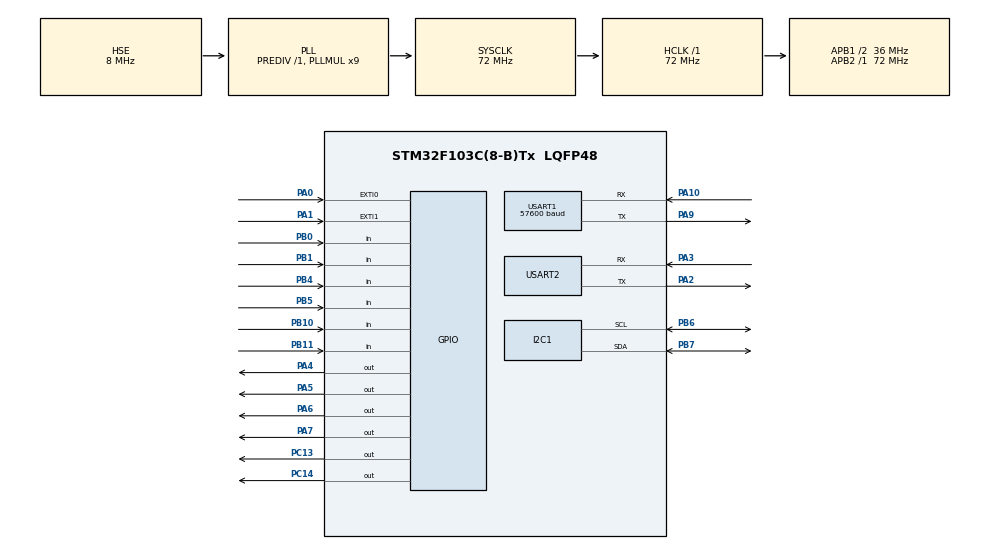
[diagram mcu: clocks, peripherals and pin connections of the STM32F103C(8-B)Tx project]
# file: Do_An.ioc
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Mcu.Family=STM32F1
Mcu.Name=STM32F103C(8-B)Tx
Mcu.Package=LQFP48
NVIC.EXTI0_IRQn=true\:0\:0\:false\:false\:true\:true\:true
NVIC.EXTI1_IRQn=true\:0\:0\:false\:false\:true\:true\:true
NVIC.PriorityGroup=NVIC_PRIORITYGROUP_4
NVIC.TIM2_IRQn=true\:0\:0\:false\:false\:true\:true\:true
NVIC.USART1_IRQn=true\:0\:0\:false\:false\:true\:true\:true
NVIC.USART2_IRQn=true\:0\:0\:false\:false\:true\:true\:true
PA0-WKUP.GPIO_ModeDefaultEXTI=GPIO_MODE_IT_FALLING
PA0-WKUP.GPIO_PuPd=GPIO_PULLUP
PA0-WKUP.Signal=GPXTI0
PA1.GPIO_PuPd=GPIO_PULLUP
PA1.Signal=GPXTI1
PA10.Mode=Asynchronous
PA10.Signal=USART1_RX
PA13.Mode=Serial_Wire
PA13.Signal=SYS_JTMS-SWDIO
PA14.Mode=Serial_Wire
PA14.Signal=SYS_JTCK-SWCLK
PA2.Mode=Asynchronous
PA2.Signal=USART2_TX
PA3.Mode=Asynchronous
PA3.Signal=USART2_RX
PA4.Signal=GPIO_Output
PA5.Signal=GPIO_Output
PA6.Signal=GPIO_Output
PA7.Signal=GPIO_Output
PA9.Mode=Asynchronous
PA9.Signal=USART1_TX
PB0.GPIO_PuPd=GPIO_PULLUP
PB0.Signal=GPIO_Input
PB1.GPIO_PuPd=GPIO_PULLUP
PB1.Signal=GPIO_Input
PB10.GPIO_PuPd=GPIO_PULLUP
PB10.Signal=GPIO_Input
PB11.GPIO_PuPd=GPIO_PULLUP
PB11.Signal=GPIO_Input
PB4.GPIO_PuPd=GPIO_PULLUP
PB4.Signal=GPIO_Input
PB5.GPIO_PuPd=GPIO_PULLUP
PB5.Signal=GPIO_Input
PB6.Mode=I2C
PB6.Signal=I2C1_SCL
PB7.Mode=I2C
PB7.Signal=I2C1_SDA
PC13-TAMPER-RTC.Signal=GPIO_Output
PC14-OSC32_IN.Signal=GPIO_Output
PD0-OSC_IN.Mode=HSE-External-Oscillator
PD0-OSC_IN.Signal=RCC_OSC_IN
PD1-OSC_OUT.Mode=HSE-External-Oscillator
PD1-OSC_OUT.Signal=RCC_OSC_OUT
ProjectManager.HeapSize=0x200
ProjectManager.StackSize=0x400
ProjectManager.TargetToolchain=MDK-ARM V5
RCC.AHBFreq_Value=72000000
RCC.APB1CLKDivider=RCC_HCLK_DIV2
RCC.APB1Freq_Value=36000000
RCC.APB1TimFreq_Value=72000000
RCC.APB2Freq_Value=72000000
RCC.APB2TimFreq_Value=72000000
RCC.HCLKFreq_Value=72000000
RCC.PLLMUL=RCC_PLL_MUL9
RCC.PLLSourceVirtual=RCC_PLLSOURCE_HSE
RCC.SYSCLKFreq_VALUE=72000000
RCC.SYSCLKSource=RCC_SYSCLKSOURCE_PLLCLK
RCC.USBFreq_Value=72000000
TIM2.AutoReloadPreload=TIM_AUTORELOAD_PRELOAD_ENABLE
TIM2.Period=19999
TIM2.Prescaler=7200
USART1.BaudRate=57600
USART1.VirtualMode=VM_ASYNC
USART2.VirtualMode=VM_ASYNC
VP_TIM2_VS_ClockSourceINT.Mode=Internal
board=custom

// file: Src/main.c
/* USER CODE BEGIN Header */
/**
  ******************************************************************************
  * @file           : main.c
  * @brief          : Main program body
  ******************************************************************************
  * @attention
  *
  * <h2><center>&copy; Copyright (c) 2022 STMicroelectronics.
  * All rights reserved.</center></h2>
  *
  * This software component is licensed by ST under BSD 3-Clause license,
  * the "License"; You may not use this file except in compliance with the
  * License. You may obtain a copy of the License at:
  *                        opensource.org/licenses/BSD-3-Clause
  *
  ******************************************************************************
  */
/* USER CODE END Header */

#include "main.h"

/* USER CODE BEGIN Includes */
#include <stdio.h>
#include <stdlib.h>
#include <string.h>
#include <stdbool.h>
//#include "i2c-lcd.h"
#include "cJSON.h"
//#include "usart.h"
#include "R305.h"
#include "flash.h"
#include "ringbuf.h"
#include "LCD_I2C.h"
/* USER CODE END Includes */

I2C_HandleTypeDef hi2c1;

TIM_HandleTypeDef htim2;

UART_HandleTypeDef huart2;

/* USER CODE BEGIN PV */
#define ADDRESS_DATA_STORAGE	0x800FC00
RINGBUF RX_BUF;
/* USER CODE END PV */

void SystemClock_Config(void);
static void MX_GPIO_Init(void);
static void MX_I2C1_Init(void);
static void MX_USART2_UART_Init(void);

static void MX_TIM2_Init(void);
/* USER CODE BEGIN PFP */

// truyen printf
#ifdef __GNUC__
	#define PUTCHAR_PROTOTYPE int __io_putchar(int ch)
#else
	#define PUTCHAR_PROTOTYPE int fputc(int ch, FILE *f)
#endif

PUTCHAR_PROTOTYPE
{
	HAL_UART_Transmit(&huart2, (uint8_t *)&ch, 1, 0xFFFF);
	return ch;
}

void quetphim(char *ten);
void quetphimcontrol();

void send_data_uart1(uint8_t Mode, uint8_t Admin, uint8_t Id, char * Name);
void themvantay();
void xoavantay();
void xoavantayall();
void vantay();
void suavantay();
void xoavantaytuPC(int id);
void xulyJSON(char *dataJson);
void Received(void);
void coikeu(int l);

/* USER CODE END PFP */

/* USER CODE BEGIN 0 */
uint8_t start = 0;
uint8_t data[] = "HELLO";

uint8_t Mode = 0;
uint8_t Admin = 0;
uint8_t Id = 0;
uint8_t Name = 0;
int IDE;
int y;
int i, m; // quet phim i, j va m gia tri tung phan tu cua mang
int value; // gia tri ascii cua ban phim
int l = 1000; // s� lan vong lap for quet phim
char msg[30];
int delay_phim = 100;
int col = 1;
int	row = 1;
bool name_ok = false;

//char ten[30] = "";

int modeIN_OUT = 0;
int mode_vantay = 0;// bien mode
bool ok = false;
bool phai_them_vantay_ad = false;
bool chuathemvantayduoc = false;
char tentuPC[50];

uint8_t idxoa;
uint8_t buf4[25];

uint8_t rx_data;
char rx_buffer[50];
unsigned int rx_index = 0;

cJSON *str_json;

void HAL_UART_RxCpltCallback(UART_HandleTypeDef *huart) // call back uart interrupt
{
	if (huart -> Instance == USART2){
		Received();// nhan + xu ly data
		HAL_UART_Receive_IT(&huart2, &rx_data, 1);  // nhan data uart interrupt/ 1: data size
	}
}

/* USER CODE END 0 */

int main(void)
{

  /* MCU Configuration--------------------------------------------------------*/

  /* Reset of all peripherals, Initializes the Flash interface and the Systick. */
  HAL_Init();

  /* Configure the system clock */
  SystemClock_Config();

  /* Initialize all configured peripherals */
  MX_GPIO_Init();
  MX_I2C1_Init();
  MX_USART2_UART_Init();
  MX_USART1_UART_Init();
  MX_TIM2_Init();
  /* USER CODE BEGIN 2 */

	HAL_TIM_Base_Start_IT(&htim2);
	HAL_UART_Receive_IT(&huart2, &rx_data, 1); // nhan data uart
	// khoi tao LCD

	LCD_Init();
	LCD_Clear();
	LCD_setCursor(0, 0);
	LCD_sendString("");
	LCD_Clear();
	LCD_setCursor(0, 0);
	LCD_sendString("  DO AN TOT NGHIEP  ");
		HAL_GPIO_WritePin(GPIOC, GPIO_PIN_14, GPIO_PIN_SET);
	HAL_Delay(1000);
	// set keypad
	HAL_GPIO_WritePin(GPIOA, GPIO_PIN_4, GPIO_PIN_SET);
	HAL_GPIO_WritePin(GPIOA, GPIO_PIN_5, GPIO_PIN_SET);
	HAL_GPIO_WritePin(GPIOA, GPIO_PIN_6, GPIO_PIN_SET);
	HAL_GPIO_WritePin(GPIOA, GPIO_PIN_7, GPIO_PIN_SET);

	m = 0;

	char ten[30]="";

  /* USER CODE END 2 */

  /* Infinite loop */
  /* USER CODE BEGIN WHILE */

	LCD_CMD(0x0C);
  while (1)
  {
    /* USER CODE END WHILE */

    /* USER CODE BEGIN 3 */
		quetphimcontrol();
		if (mode_vantay == 1 && ok == true){
			themvantay();
		}
		else if (mode_vantay == 2 && ok == true){
			xoavantay();
		}
		else if (mode_vantay == 3 && ok == true){
			xoavantayall();
		}
		else if (mode_vantay == 4 && ok == true){
			LCD_setCursor(0, 0);
			LCD_sendString("DIEM DANH NHAN VIEN");
			vantay();
		}
		else if (mode_vantay == 5 && ok == true){
			LCD_Clear();
			LCD_setCursor(0, 0);
			LCD_sendString(">");
			while (ok == true)
			{
				//quetphim();
			}
		}
		else {
			if (mode_vantay == 1){
				LCD_setCursor(0, 0);
				LCD_sendString("  DO AN TOT NGHIEP  ");
				LCD_setCursor(1, 0);
				LCD_sendString("|>  THEM VAN TAY    ");
				LCD_setCursor(2, 0);
				LCD_sendString("|    XOA VAN TAY    ");
				LCD_setCursor(3, 0);
				LCD_sendString("|    XOA TOAN BO    ");
			}
			else if (mode_vantay == 2){
				LCD_setCursor(0, 0);
				LCD_sendString("  DO AN TOT NGHIEP  ");
				LCD_setCursor(1, 0);
				LCD_sendString("|   THEM VAN TAY    ");
				LCD_setCursor(2, 0);
				LCD_sendString("|>   XOA VAN TAY    ");
				LCD_setCursor(3, 0);
				LCD_sendString("|    XOA TOAN BO    ");
			}
			else if (mode_vantay == 3){
				LCD_setCursor(0, 0);
				LCD_sendString("  DO AN TOT NGHIEP  ");
				LCD_setCursor(1, 0);
				LCD_sendString("|   THEM VAN TAY    ");
				LCD_setCursor(2, 0);
				LCD_sendString("|    XOA VAN TAY    ");
				LCD_setCursor(3, 0);
				LCD_sendString("|>   XOA TOAN BO    ");
			}
			else if (mode_vantay == 4){
				LCD_setCursor(0, 0);
				LCD_sendString("  DO AN TOT NGHIEP  ");
				LCD_setCursor(1, 0);
				LCD_sendString("|    XOA VAN TAY    ");
				LCD_setCursor(2, 0);
				LCD_sendString("|    XOA TOAN BO    ");
				LCD_setCursor(3, 0);
				LCD_sendString("|>    DIEM DANH     ");
			}
			else
			{
				LCD_setCursor(0, 0);
				LCD_sendString("  DO AN TOT NGHIEP  ");
			}
		}
  /* USER CODE END 3 */
}
	}

void SystemClock_Config(void)
{
  RCC_OscInitTypeDef RCC_OscInitStruct = {0};
  RCC_ClkInitTypeDef RCC_ClkInitStruct = {0};

  /** Initializes the CPU, AHB and APB busses clocks
  */
  RCC_OscInitStruct.OscillatorType = RCC_OSCILLATORTYPE_HSE;
  RCC_OscInitStruct.HSEState = RCC_HSE_ON;
  RCC_OscInitStruct.HSEPredivValue = RCC_HSE_PREDIV_DIV1;
  RCC_OscInitStruct.HSIState = RCC_HSI_ON;
  RCC_OscInitStruct.PLL.PLLState = RCC_PLL_ON;
  RCC_OscInitStruct.PLL.PLLSource = RCC_PLLSOURCE_HSE;
  RCC_OscInitStruct.PLL.PLLMUL = RCC_PLL_MUL9;
  if (HAL_RCC_OscConfig(&RCC_OscInitStruct) != HAL_OK)
  {
    Error_Handler();
  }
  /** Initializes the CPU, AHB and APB busses clocks
  */
  RCC_ClkInitStruct.ClockType = RCC_CLOCKTYPE_HCLK|RCC_CLOCKTYPE_SYSCLK
                              |RCC_CLOCKTYPE_PCLK1|RCC_CLOCKTYPE_PCLK2;
  RCC_ClkInitStruct.SYSCLKSource = RCC_SYSCLKSOURCE_PLLCLK;
  RCC_ClkInitStruct.AHBCLKDivider = RCC_SYSCLK_DIV1;
  RCC_ClkInitStruct.APB1CLKDivider = RCC_HCLK_DIV2;
  RCC_ClkInitStruct.APB2CLKDivider = RCC_HCLK_DIV1;

  if (HAL_RCC_ClockConfig(&RCC_ClkInitStruct, FLASH_LATENCY_2) != HAL_OK)
  {
    Error_Handler();
  }
}

static void MX_I2C1_Init(void)
{

  hi2c1.Instance = I2C1;
  hi2c1.Init.ClockSpeed = 100000;
  hi2c1.Init.DutyCycle = I2C_DUTYCYCLE_2;
  hi2c1.Init.OwnAddress1 = 0;
  hi2c1.Init.AddressingMode = I2C_ADDRESSINGMODE_7BIT;
  hi2c1.Init.DualAddressMode = I2C_DUALADDRESS_DISABLE;
  hi2c1.Init.OwnAddress2 = 0;
  hi2c1.Init.GeneralCallMode = I2C_GENERALCALL_DISABLE;
  hi2c1.Init.NoStretchMode = I2C_NOSTRETCH_DISABLE;
  if (HAL_I2C_Init(&hi2c1) != HAL_OK)
  {
    Error_Handler();
  }

}

static void MX_TIM2_Init(void)
{

  TIM_ClockConfigTypeDef sClockSourceConfig = {0};
  TIM_MasterConfigTypeDef sMasterConfig = {0};

  htim2.Instance = TIM2;
  htim2.Init.Prescaler = 7200;
  htim2.Init.CounterMode = TIM_COUNTERMODE_UP;
  htim2.Init.Period = 4999;
  htim2.Init.ClockDivision = TIM_CLOCKDIVISION_DIV1;
  htim2.Init.AutoReloadPreload = TIM_AUTORELOAD_PRELOAD_ENABLE;
  if (HAL_TIM_Base_Init(&htim2) != HAL_OK)
  {
    Error_Handler();
  }
  sClockSourceConfig.ClockSource = TIM_CLOCKSOURCE_INTERNAL;
  if (HAL_TIM_ConfigClockSource(&htim2, &sClockSourceConfig) != HAL_OK)
  {
    Error_Handler();
  }
  sMasterConfig.MasterOutputTrigger = TIM_TRGO_RESET;
  sMasterConfig.MasterSlaveMode = TIM_MASTERSLAVEMODE_DISABLE;
  if (HAL_TIMEx_MasterConfigSynchronization(&htim2, &sMasterConfig) != HAL_OK)
  {
    Error_Handler();
  }

}

static void MX_USART2_UART_Init(void)
{

  huart2.Instance = USART2;
  huart2.Init.BaudRate = 115200;
  huart2.Init.WordLength = UART_WORDLENGTH_8B;
  huart2.Init.StopBits = UART_STOPBITS_1;
  huart2.Init.Parity = UART_PARITY_NONE;
  huart2.Init.Mode = UART_MODE_TX_RX;
  huart2.Init.HwFlowCtl = UART_HWCONTROL_NONE;
  huart2.Init.OverSampling = UART_OVERSAMPLING_16;
  if (HAL_UART_Init(&huart2) != HAL_OK)
  {
    Error_Handler();
  }

}

static void MX_GPIO_Init(void)
{
  GPIO_InitTypeDef GPIO_InitStruct = {0};

  /* GPIO Ports Clock Enable */
  __HAL_RCC_GPIOC_CLK_ENABLE();
  __HAL_RCC_GPIOD_CLK_ENABLE();
  __HAL_RCC_GPIOA_CLK_ENABLE();
  __HAL_RCC_GPIOB_CLK_ENABLE();

  /*Configure GPIO pin Output Level */
  HAL_GPIO_WritePin(GPIOC, GPIO_PIN_13|GPIO_PIN_14, GPIO_PIN_RESET);

  /*Configure GPIO pin Output Level */
  HAL_GPIO_WritePin(GPIOA, GPIO_PIN_4|GPIO_PIN_5|GPIO_PIN_6|GPIO_PIN_7, GPIO_PIN_RESET);

  /*Configure GPIO pins : PC13 PC14 */
  GPIO_InitStruct.Pin = GPIO_PIN_13|GPIO_PIN_14;
  GPIO_InitStruct.Mode = GPIO_MODE_OUTPUT_PP;
  GPIO_InitStruct.Pull = GPIO_NOPULL;
  GPIO_InitStruct.Speed = GPIO_SPEED_FREQ_LOW;
  HAL_GPIO_Init(GPIOC, &GPIO_InitStruct);

  /*Configure GPIO pin : PA0 */
  GPIO_InitStruct.Pin = GPIO_PIN_0;
  GPIO_InitStruct.Mode = GPIO_MODE_IT_FALLING;
  GPIO_InitStruct.Pull = GPIO_PULLUP;
  HAL_GPIO_Init(GPIOA, &GPIO_InitStruct);

  /*Configure GPIO pin : PA1 */
  GPIO_InitStruct.Pin = GPIO_PIN_1;
  GPIO_InitStruct.Mode = GPIO_MODE_IT_RISING;
  GPIO_InitStruct.Pull = GPIO_PULLUP;
  HAL_GPIO_Init(GPIOA, &GPIO_InitStruct);

  /*Configure GPIO pins : PA4 PA5 PA6 PA7 */
  GPIO_InitStruct.Pin = GPIO_PIN_4|GPIO_PIN_5|GPIO_PIN_6|GPIO_PIN_7;
  GPIO_InitStruct.Mode = GPIO_MODE_OUTPUT_PP;
  GPIO_InitStruct.Pull = GPIO_NOPULL;
  GPIO_InitStruct.Speed = GPIO_SPEED_FREQ_LOW;
  HAL_GPIO_Init(GPIOA, &GPIO_InitStruct);

  /*Configure GPIO pins : PB0 PB1 PB10 PB11
                           PB4 PB5 */
  GPIO_InitStruct.Pin = GPIO_PIN_0|GPIO_PIN_1|GPIO_PIN_10|GPIO_PIN_11
                          |GPIO_PIN_4|GPIO_PIN_5;
  GPIO_InitStruct.Mode = GPIO_MODE_INPUT;
  GPIO_InitStruct.Pull = GPIO_PULLUP;
  HAL_GPIO_Init(GPIOB, &GPIO_InitStruct);

  /* EXTI interrupt init*/
  HAL_NVIC_SetPriority(EXTI0_IRQn, 0, 0);
  HAL_NVIC_EnableIRQ(EXTI0_IRQn);

  HAL_NVIC_SetPriority(EXTI1_IRQn, 0, 0);
  HAL_NVIC_EnableIRQ(EXTI1_IRQn);

}

/* USER CODE BEGIN 4 */

/**
  * @brief This function handles EXTI line0 interrupt.
  */
void EXTI0_IRQHandler(void)
{
  /* USER CODE BEGIN EXTI0_IRQn 0 */
	modeIN_OUT = 0;
	//HAL_GPIO_TogglePin(GPIOC, GPIO_PIN_13);
  /* USER CODE END EXTI0_IRQn 0 */
  HAL_GPIO_EXTI_IRQHandler(GPIO_PIN_0);
  /* USER CODE BEGIN EXTI0_IRQn 1 */

  /* USER CODE END EXTI0_IRQn 1 */
}

/**
  * @brief This function handles EXTI line1 interrupt.
  */
void EXTI1_IRQHandler(void)
{
  /* USER CODE BEGIN EXTI1_IRQn 0 */
	modeIN_OUT = 1;
	//HAL_GPIO_TogglePin(GPIOC, GPIO_PIN_13);
  /* USER CODE END EXTI1_IRQn 0 */
  HAL_GPIO_EXTI_IRQHandler(GPIO_PIN_1);
  /* USER CODE BEGIN EXTI1_IRQn 1 */

  /* USER CODE END EXTI1_IRQn 1 */
}

void quetphim(char * ten)
{
	 /* A4-A7 -> output  // moi dau set 1 het
		PB0, PB1, PB10 PB11 -> input */
	////////////// QUET VONG 1
	LCD_CMD(0x0D);
	if (m<20){
	HAL_GPIO_WritePin(GPIOA, GPIO_PIN_4, GPIO_PIN_RESET);
	/* KEY1 */

	if (HAL_GPIO_ReadPin(GPIOB, GPIO_PIN_0) == 0) // chon mode
	{
		value = 49; // so 1
		HAL_Delay(10);
		LCD_setCursor(2,0);
		msg[m] = value;
		LCD_sendString(msg);
		value--;
		if(value==32)
        value=49;
		while(HAL_GPIO_ReadPin(GPIOB, GPIO_PIN_0) == 0);
		m++;
		i = 0;
		col++;
		HAL_Delay(delay_phim);
	}
	/* KEY2 */
	else if (HAL_GPIO_ReadPin(GPIOB, GPIO_PIN_10) == 0)
	{
		value = 65; // so 1
		HAL_Delay(10);
		for (i=0; i<l; i++)
		{
			if(HAL_GPIO_ReadPin(GPIOB, GPIO_PIN_10) == 0)
			{
				LCD_setCursor(2,0);
				msg[m] = value;
				LCD_sendString(msg);
				value++;
        if(value == 68)
          value = 50;
        if(value == 51)
          value = 65;
				while(HAL_GPIO_ReadPin(GPIOB, GPIO_PIN_10) == 0);
				i = 0;
				HAL_Delay(delay_phim);
			}
		}
		m++;
		col++;
	}

	/* KEY3 */
	else if (HAL_GPIO_ReadPin(GPIOB, GPIO_PIN_1) == 0)
	{
		value = 68; // so 1
		HAL_Delay(10);
		for (i=0; i<l; i++)
		{
			if(HAL_GPIO_ReadPin(GPIOB, GPIO_PIN_1) == 0)
			{
				LCD_setCursor(2,0);
				msg[m] = value;
				LCD_sendString(msg);
				value++;
        if(value == 71)
          value = 51;
        if(value == 52)
          value = 68;
				while(HAL_GPIO_ReadPin(GPIOB, GPIO_PIN_1) == 0);
				i = 0;
				HAL_Delay(delay_phim);
			}
		}
		m++;
		col++; // tang cot lcd
	}
	/////////////// QUET VONG 2
	HAL_GPIO_WritePin(GPIOA, GPIO_PIN_4, GPIO_PIN_SET);
	HAL_GPIO_WritePin(GPIOA, GPIO_PIN_5, GPIO_PIN_RESET);
			/* KEY4 */
	if (HAL_GPIO_ReadPin(GPIOB, GPIO_PIN_0) == 0)
	{
		value = 71; // so 1
		HAL_Delay(10);
		for (i=0; i<l; i++)
		{
			if(HAL_GPIO_ReadPin(GPIOB, GPIO_PIN_0) == 0)
			{
				LCD_setCursor(2,0);
				msg[m] = value;
				LCD_sendString(msg);
				value++;
        if(value == 74)
          value = 52;
        if(value == 53)
          value = 71;
				while(HAL_GPIO_ReadPin(GPIOB, GPIO_PIN_0) == 0);
				i = 0;
				HAL_Delay(delay_phim);
			}
		}
		m++;
		col++;
	}
		/* KEY5 */
	else if (HAL_GPIO_ReadPin(GPIOB, GPIO_PIN_10) == 0)
	{
		value = 74; // so 1
		HAL_Delay(10);
		for (i=0; i<l; i++)
		{
			if(HAL_GPIO_ReadPin(GPIOB, GPIO_PIN_10) == 0)
			{
				LCD_setCursor(2,0);
				msg[m] = value;
				LCD_sendString(msg);
				value++;
        if(value == 77)
          value = 53;
        if(value == 54)
          value = 74;
				while(HAL_GPIO_ReadPin(GPIOB, GPIO_PIN_10) == 0);
				i = 0;
				HAL_Delay(delay_phim);
			}
		}
		m++;
		col++;
	}
			/* KEY6 */
	else if (HAL_GPIO_ReadPin(GPIOB, GPIO_PIN_1) == 0)
	{
		value = 77; // so 1
		HAL_Delay(10);
		for (i=0; i<l; i++)
		{
			if(HAL_GPIO_ReadPin(GPIOB, GPIO_PIN_1) == 0)
			{
				LCD_setCursor(2,0);
				msg[m] = value;
				LCD_sendString(msg);
				value++;
        if(value == 80)
          value = 54;
        if(value == 55)
          value = 77;
				while(HAL_GPIO_ReadPin(GPIOB, GPIO_PIN_1) == 0);
				i = 0;
				HAL_Delay(delay_phim);
			}
		}
		m++;
		col++;
	}

	//////////// QUET VONG 3
	HAL_GPIO_WritePin(GPIOA, GPIO_PIN_5, GPIO_PIN_SET);
	HAL_GPIO_WritePin(GPIOA, GPIO_PIN_6, GPIO_PIN_RESET);
	/* KEY7 */
	if (HAL_GPIO_ReadPin(GPIOB, GPIO_PIN_0) == 0)
	{
		value = 80; // so 1
		HAL_Delay(10);
		for (i=0; i<l; i++)
		{
			if(HAL_GPIO_ReadPin(GPIOB, GPIO_PIN_0) == 0)
			{
				LCD_setCursor(2,0);
				msg[m] = value;
				LCD_sendString(msg);
				value++;
        if(value == 84)
          value = 55;
        if(value == 56)
          value = 80;
				while(HAL_GPIO_ReadPin(GPIOB, GPIO_PIN_0) == 0);
				i = 0;
				HAL_Delay(delay_phim);
			}
		}
		m++;
		col++;
	}
		/* KEY8 */
	else if (HAL_GPIO_ReadPin(GPIOB, GPIO_PIN_10) == 0)
	{
		value = 84; // so 1
		HAL_Delay(10);
		for (i=0; i<l; i++)
		{
			if(HAL_GPIO_ReadPin(GPIOB, GPIO_PIN_10) == 0)
			{
				LCD_setCursor(2,0);
				msg[m] = value;
				LCD_sendString(msg);
				value++;
        if(value == 87)
          value = 56;
        if(value == 57)
          value = 84;
				while(HAL_GPIO_ReadPin(GPIOB, GPIO_PIN_10) == 0);
				i = 0;
				HAL_Delay(delay_phim);
			}
		}
		m++;
		col++;
	}
			/* KEY9 */
	else if (HAL_GPIO_ReadPin(GPIOB, GPIO_PIN_1) == 0)
	{
		value = 87; // so 1
		HAL_Delay(10);
		for (i=0; i<l; i++)
		{
			if(HAL_GPIO_ReadPin(GPIOB, GPIO_PIN_1) == 0)
			{
				LCD_setCursor(2,0);
				msg[m] = value;
				LCD_sendString(msg);
				value++;
        if(value == 91)
          value = 57;
        if(value == 58)
          value = 87;
				while(HAL_GPIO_ReadPin(GPIOB, GPIO_PIN_1) == 0);
				i = 0;
				HAL_Delay(delay_phim);
			}
		}
		m++;
		col++;
	}

	//////// QUET LAN 4
	HAL_GPIO_WritePin(GPIOA, GPIO_PIN_6, GPIO_PIN_SET);
	HAL_GPIO_WritePin(GPIOA, GPIO_PIN_7, GPIO_PIN_RESET);

	/* KEY  * */
	if (HAL_GPIO_ReadPin(GPIOB, GPIO_PIN_0) == 0)
	{
		ok = false;
		name_ok = true; // nhap ten xong
		col = 0;
		while(HAL_GPIO_ReadPin(GPIOB, GPIO_PIN_0) == 0);
		LCD_CMD(0x0C);
		LCD_Clear();
		LCD_setCursor(0, 0);
		LCD_sendString("   THEM VAN TAY   ");
		LCD_setCursor(2, 0);
	}
		/* KEY0 */

	else if (HAL_GPIO_ReadPin(GPIOB, GPIO_PIN_10) == 0)
	{
		value = 48; // so 1
		HAL_Delay(10);
		for (i=0; i<l; i++)
		{
			if(HAL_GPIO_ReadPin(GPIOB, GPIO_PIN_10) == 0)
			{
				LCD_setCursor(2,0);
				msg[m] = value;
				LCD_sendString(msg);
				value = value - 16;
        if(value < 32)  // laanf hai nhan value = 48 + 16
          value = 48;
				while(HAL_GPIO_ReadPin(GPIOB, GPIO_PIN_10) == 0);
				i = 0;
				HAL_Delay(delay_phim);
			}
		}
		m++;
		col++;
	}
			/* KEY #   delete */
	else if (HAL_GPIO_ReadPin(GPIOB, GPIO_PIN_1) == 0)
	{
		if(m != 0){
			m--;
			col--;
		}
		msg[m] = 0;
		LCD_Write(msg[m]);
		LCD_Clear();
		LCD_setCursor(1, 0);
		LCD_sendString("   NHAP VAO TEN  ");
		LCD_setCursor(0, 0);
		LCD_sendString("   THEM VAN TAY   ");
		LCD_setCursor(2, 0);
		for(int t=0; t<m; t++){
				LCD_Write(msg[t]);
		}
		coikeu(0);
		while(HAL_GPIO_ReadPin(GPIOB, GPIO_PIN_1) == 0);
		HAL_Delay(delay_phim);
	}
	HAL_GPIO_WritePin(GPIOA, GPIO_PIN_7, GPIO_PIN_SET);
}
	else{//m >20
			//////// QUET LAN 4
	HAL_GPIO_WritePin(GPIOA, GPIO_PIN_6, GPIO_PIN_SET);
	HAL_GPIO_WritePin(GPIOA, GPIO_PIN_7, GPIO_PIN_RESET);

	/* KEY * */
	if (HAL_GPIO_ReadPin(GPIOB, GPIO_PIN_0) == 0)
	{
		ok = false;
		name_ok = true; // nhap ten xong
		col = 0;
		while(HAL_GPIO_ReadPin(GPIOB, GPIO_PIN_0) == 0);
		LCD_CMD(0x0C);
		LCD_Clear();
		LCD_setCursor(0, 0);
		LCD_sendString("   THEM VAN TAY   ");
		LCD_setCursor(2, 0);
	}
			/* KEY #   delete */
	else if (HAL_GPIO_ReadPin(GPIOB, GPIO_PIN_1) == 0)
	{
		if(m != 0){
			m--;
			col--;
		}
		msg[m] = 0;
		LCD_Write(msg[m]);
		LCD_Clear();
		LCD_setCursor(1, 0);
		LCD_sendString("   NHAP VAO TEN  ");
		LCD_setCursor(0, 0);
		LCD_sendString("   THEM VAN TAY   ");
		LCD_setCursor(2, 0);
		for(int t=0; t<m; t++){
				LCD_Write(msg[t]);
		}
		coikeu(0);
		while(HAL_GPIO_ReadPin(GPIOB, GPIO_PIN_1) == 0);
		HAL_Delay(delay_phim);
	}
	HAL_GPIO_WritePin(GPIOA, GPIO_PIN_7, GPIO_PIN_SET);
	}
}

void quetphimcontrol()
{
	/* QUET VONG 1*/
	HAL_GPIO_WritePin(GPIOA, GPIO_PIN_4, GPIO_PIN_RESET);

	if (HAL_GPIO_ReadPin(GPIOB, GPIO_PIN_11) == 0) // chon mode +
	{
		HAL_Delay(20);
		HAL_GPIO_TogglePin(GPIOC, GPIO_PIN_13);
		mode_vantay+=1;
		if (mode_vantay == 5){
			mode_vantay = 1;
		}
		coikeu(0);
		while(HAL_GPIO_ReadPin(GPIOB, GPIO_PIN_11) == 0);
	}

	/* QUET VONG 2*/
	HAL_GPIO_WritePin(GPIOA, GPIO_PIN_4, GPIO_PIN_SET);
	HAL_GPIO_WritePin(GPIOA, GPIO_PIN_5, GPIO_PIN_RESET);

	if (HAL_GPIO_ReadPin(GPIOB, GPIO_PIN_11) == 0) // chon mode -
	{
		HAL_Delay(20);
		HAL_GPIO_TogglePin(GPIOC, GPIO_PIN_13);
		if (mode_vantay == 1){
			mode_vantay = 5;
		}
		mode_vantay-=1;
		coikeu(0);
		while(HAL_GPIO_ReadPin(GPIOB, GPIO_PIN_11) == 0);
	}
	/* QUET VONG 3*/
	HAL_GPIO_WritePin(GPIOA, GPIO_PIN_5, GPIO_PIN_SET);
	HAL_GPIO_WritePin(GPIOA, GPIO_PIN_6, GPIO_PIN_RESET);

	if (HAL_GPIO_ReadPin(GPIOB, GPIO_PIN_11) == 0) // chon OK
	{
		HAL_Delay(20);
		HAL_GPIO_TogglePin(GPIOC, GPIO_PIN_13);
		ok = true;
		LCD_Clear(); // clear menu
		coikeu(0);
		while(HAL_GPIO_ReadPin(GPIOB, GPIO_PIN_11) == 0);
	}
	/* QUET VONG 4*/
	HAL_GPIO_WritePin(GPIOA, GPIO_PIN_6, GPIO_PIN_SET);
	HAL_GPIO_WritePin(GPIOA, GPIO_PIN_7, GPIO_PIN_RESET);

	if (HAL_GPIO_ReadPin(GPIOB, GPIO_PIN_11) == 0) // chon THOAT
	{
		HAL_Delay(20);
		HAL_GPIO_TogglePin(GPIOC, GPIO_PIN_13);
		LCD_CMD(0x0C);
		coikeu(0);
		while(HAL_GPIO_ReadPin(GPIOB, GPIO_PIN_11) == 0);
	}

	HAL_GPIO_WritePin(GPIOA, GPIO_PIN_7, GPIO_PIN_SET);

}
void coikeu(int l)
{
	if(l == 0){ // tit 150ms
		HAL_GPIO_WritePin(GPIOC, GPIO_PIN_14, GPIO_PIN_RESET);
		HAL_Delay(150);
		HAL_GPIO_WritePin(GPIOC, GPIO_PIN_14, GPIO_PIN_SET);
	}
	else if (l == 1 ) { // tit tit 1000ms
		HAL_GPIO_WritePin(GPIOC, GPIO_PIN_14, GPIO_PIN_RESET);
		HAL_Delay(250);
		HAL_GPIO_WritePin(GPIOC, GPIO_PIN_14, GPIO_PIN_SET);
		HAL_Delay(250);

		HAL_GPIO_WritePin(GPIOC, GPIO_PIN_14, GPIO_PIN_RESET);
		HAL_Delay(250);
		HAL_GPIO_WritePin(GPIOC, GPIO_PIN_14, GPIO_PIN_SET);
		HAL_Delay(250);
	}
	else if (l == 2){ // tit tit tit 1200ms
		HAL_GPIO_WritePin(GPIOC, GPIO_PIN_14, GPIO_PIN_RESET);
		HAL_Delay(200);
		HAL_GPIO_WritePin(GPIOC, GPIO_PIN_14, GPIO_PIN_SET);
		HAL_Delay(200);

		HAL_GPIO_WritePin(GPIOC, GPIO_PIN_14, GPIO_PIN_RESET);
		HAL_Delay(200);
		HAL_GPIO_WritePin(GPIOC, GPIO_PIN_14, GPIO_PIN_SET);
		HAL_Delay(200);

		HAL_GPIO_WritePin(GPIOC, GPIO_PIN_14, GPIO_PIN_RESET);
		HAL_Delay(200);
		HAL_GPIO_WritePin(GPIOC, GPIO_PIN_14, GPIO_PIN_SET);
		HAL_Delay(200);
	}
}
void suavantay()
{

}

///////////// JSON

void xulyJSON(char *dataJson)
{
	str_json = cJSON_Parse(dataJson);
	if(!str_json) // khong phai chuoi JSON
	{

	}
	else  // la chuoi JSON
	{
		if (cJSON_GetObjectItem(str_json, "Xoa")) /// xoa ID
		{
			idxoa = atoi(cJSON_GetObjectItem(str_json, "Xoa")->valuestring); // atoi convert string to interger
			xoavantaytuPC(idxoa); // xoa id van tay
		}
		if (cJSON_GetObjectItem(str_json, "OK")) /// xoa ID
		{
			chuathemvantayduoc = true;
		}
		if (cJSON_GetObjectItem(str_json, "NAME")) /// xoa ID
		{
			LCD_setCursor(2,0);
			LCD_sendString("     XIN CAM ON   ");
			LCD_setCursor(3,8);
			LCD_sendString(cJSON_GetObjectItem(str_json, "NAME")->valuestring);
		}
	}
	cJSON_Delete(str_json); // x�a m?ng json
}
void Received(void)
{
	if (rx_data != '\n')
	{
			rx_buffer[rx_index++] = rx_data;
	}
	else
	{
		xulyJSON(rx_buffer);
		//printf("Data: %s\n",rx_buffer );
		rx_index = 0;
		for (int i = 0; i < 50; i++)
		{
			rx_buffer[i] = 0;
		}
	}
}

void xoavantaytuPC(int id)
{		if(id != 0){
			deleteModel(id);
			LCD_setCursor(3,0);
			LCD_sendString("  DA XOA");
			LCD_setCursor(3,8);
			LCD_sendString(" ID: ");
			LCD_Write(id/10 + 0x30);
			LCD_Write(id%10 + 0x30);
			send_data_uart1(2,3,id, "");
		}
}
void vantay()
{
		if(verifyPassword() == 1 )
		{
			IDE = fingerIDSearch();  // ID
			if(IDE == -1)
			{
				//HAL_Delay(1000);
					LCD_setCursor(1, 0);
					LCD_sendString("    VAN TAY SAI   ");
					LCD_setCursor(2, 0);
					LCD_sendString("  XIN HAY THU LAI  ");
					coikeu(2);
					HAL_Delay(800);
					LCD_Clear();
			}
			else if (IDE == 999) // thoat mode diem danh
			{
				ok = false;
			}
			else   //////// doc thu cong // truy xuat sql
			{
				if (modeIN_OUT == 0) //IN PUT
				{
					send_data_uart1(3, 1 , IDE, ""); // gui ID truy
					HAL_Delay(400);
					coikeu(1);
					HAL_Delay(600);
					LCD_Clear();
				}
				else if (modeIN_OUT == 1)
				{
					send_data_uart1(4, 1, IDE, ""); // gui ID truy
					HAL_Delay(400);
					coikeu(1);
					HAL_Delay(600);
					LCD_Clear();
				}
			}
		}
}
void themvantay()
{
	chuathemvantayduoc = false;
	if(phai_them_vantay_ad == false){
		LCD_Clear();
		LCD_setCursor(0, 0);
		LCD_sendString("   XAC NHAN ADMIN  ");
		if(verifyPassword() == 1 ) // xac nhan admin
		{
			IDE = fingerIDSearch();
			if (IDE == 0) // bang 0: ADMIN
			{
				LCD_Clear();
				LCD_setCursor(0, 0);
				LCD_sendString("    THEM VAN TAY   ");
				coikeu(0);
				/*DOC BAN PHIM NHAP VAO TEN */
				LCD_setCursor(1, 0);
				LCD_sendString("   NHAP VAO TEN  ");
				LCD_setCursor(2, 0);
				LCD_sendString(">");
				name_ok = false;
				char ten[30] = "";
				bool chay_van_tay = false;
				while (name_ok == false)// nhap cho xong ten
				{
					quetphim(ten);
					HAL_GPIO_WritePin(GPIOA, GPIO_PIN_7, GPIO_PIN_RESET);
					if(HAL_GPIO_ReadPin(GPIOB, GPIO_PIN_11) == 0) // thoat nhap ten
					{
						HAL_GPIO_TogglePin(GPIOC, GPIO_PIN_13);
						name_ok = true; // add ten van tay
						chay_van_tay = true;  // chay add van tay cam bien
						ok = false; // thoat
					}
					HAL_GPIO_WritePin(GPIOA, GPIO_PIN_7, GPIO_PIN_SET);
				}
				coikeu(0);
				if (chay_van_tay == false) // neu khong nhap ten thi khog nhap van tay
				{
					LCD_setCursor(1, 0);
					LCD_sendString("  NHAP VAO VAN TAY  ");
					if(verifyPassword() == 1 )
					{
						int	v = fingerIDSearch(); // tim xem co van tay khong
						if (v == -1)
						{ // neu co van tay roi
							IDE = Flash_Read_Int(ADDRESS_DATA_STORAGE);
							int x = fingerEnroll(IDE);
							if ( x == 99)
							{
								ok = false;
							}
							else if (x == 0)
							{
								LCD_setCursor(3,0);
								LCD_sendString("     LOI KHI THEM   ");
								coikeu(2);
							}
							else if(x == 1 )// X�C NHAN NHAP DUNG VAN TAY HAI LAN
							{

								/*send name, IDE, Mode den serial*/
										send_data_uart1(1, Admin, IDE, msg);
																	//LCD_Clear();
										LCD_setCursor(3,1);
										LCD_sendString("  THEM OK ID: ");
										LCD_Write(IDE/10 + 0x30);
										LCD_Write(IDE%10 + 0x30);
										for(int a = 0; a<20; a++)  // clear name buffer
										{
											msg[a] = 0; // clear mess
											m = 0;
										}
										coikeu(1);
										IDE++;
										Flash_Erase(ADDRESS_DATA_STORAGE);
										Flash_Write_Int(ADDRESS_DATA_STORAGE,IDE);
							}
							ok = false;
						}
						else if (v == 999){
							ok = false;
						}
						else {
							LCD_setCursor(3,0);
							LCD_sendString(" DA TON TAI VAN TAY");
							coikeu(2);
						}
					}
				}
				LCD_Clear();
			}
			else if (IDE == 999)
			{
				ok = false;
			}
			else
			{
				LCD_Clear();
				LCD_setCursor(3, 0);
				LCD_sendString("      SAI ADMIN    ");
				coikeu(2);
				HAL_Delay(800);
			}
		}
	}
	else { /// them vay tay khong xac nhan admin
		LCD_Clear();
		LCD_setCursor(0, 0);
		LCD_sendString(" THEM VAN TAY ADMIN   ");
		/*DOC BAN PHIM NHAP VAO TEN */
		LCD_setCursor(1, 0);
		LCD_sendString("   NHAP VAO TEN  ");
		LCD_setCursor(2, 0);
		LCD_sendString(">");
		name_ok = false;
		char ten[30] = "";
		bool chay_van_tay = false;
		while (name_ok == false)// nhap cho xong ten
		{
			quetphim(ten);
			HAL_GPIO_WritePin(GPIOA, GPIO_PIN_7, GPIO_PIN_RESET);
			if(HAL_GPIO_ReadPin(GPIOB, GPIO_PIN_11) == 0) // thoat nhap ten
			{
				HAL_GPIO_TogglePin(GPIOC, GPIO_PIN_13);
				name_ok = true; // add ten van tay
				chay_van_tay = true;  // chay add van tay cam bien
				ok = false; // thoat
			}
			HAL_GPIO_WritePin(GPIOA, GPIO_PIN_7, GPIO_PIN_SET);
		}
		coikeu(0);
		if (chay_van_tay == false) // neu khong nhap ten thi khog nhap van tay
		{
			LCD_setCursor(1, 0);
			LCD_sendString("  NHAP VAO VAN TAY  ");
			if(verifyPassword() == 1 )
			{
				int	v = fingerIDSearch(); // tim xem co van tay khong
				if (v == -1)
				{ // neu co van tay roi
					IDE = Flash_Read_Int(ADDRESS_DATA_STORAGE);
					int x = fingerEnroll(IDE);
					if ( x == 99)
					{
						ok = false;
					}
					else if (x == 0)
					{
						LCD_setCursor(3,0);
						LCD_sendString("     LOI KHI THEM   ");
						coikeu(2);
					}
					else if(x == 1 )// X�C NHAN NHAP DUNG VAN TAY HAI LAN
					{
						send_data_uart1(1, Admin, IDE, msg);
						LCD_setCursor(2,1);
						LCD_sendString("   THEM OK ADMIN  ");
						LCD_setCursor(3,1);
						LCD_sendString("  THEM OK ID: ");
						LCD_Write(IDE/10 + 0x30);
						LCD_Write(IDE%10 + 0x30);
						/*send name, IDE, Mode den serial*/

						for(int a = 0; a<20; a++)  // clear name buffer
						{
							msg[a] = 0; // clear mess
							m = 0;
						}
						coikeu(1);
						IDE++;
						Flash_Erase(ADDRESS_DATA_STORAGE);
						Flash_Write_Int(ADDRESS_DATA_STORAGE,IDE);
						phai_them_vantay_ad = false;
					}
					ok = false;
				}
				else if (v == 999){
					ok = false;
				}
				else {
					LCD_setCursor(3,0);
					LCD_sendString(" DA TON TAI VAN TAY");
					coikeu(2);
				}
			}
		}
	LCD_Clear();
	}
}
void xoavantay()
{
	LCD_Clear();
	LCD_setCursor(0, 0);
	LCD_sendString("   XAC NHAN ADMIN  ");
	if(verifyPassword() == 1 ) // xac nhan admin
	{
		IDE = fingerIDSearch();
		if (IDE == 0) // bang 0: ADMIN
		{
			coikeu(0);
			if(verifyPassword() == 1 )
			{
				LCD_Clear();
				LCD_setCursor(0, 0);
				LCD_sendString("     XOA VAN TAY   ");
				LCD_setCursor(1,0);
				LCD_sendString("   MOI DAT TAY VAO ");
				//coikeu(0);
				HAL_Delay(1000);
				y = fingerIDSearch();
				if (y == 999)
				{
					// thoat khoi xoa van tay
				}
				else if (y == 0)
				{
					LCD_setCursor(2,0);
					LCD_sendString("      KHONG THE    ");
					LCD_setCursor(3,0);
					LCD_sendString("  XOA VAN TAY ADMIN");
					coikeu(2);
				}
				else if (y != -1) // co van tay thi xoa
				{
					deleteModel(y);
					LCD_setCursor(2,0);
					LCD_sendString("  DA XOA");
					LCD_setCursor(2,8);
					LCD_sendString(" ID: ");
					LCD_Write(y/10 + 0x30);
					LCD_Write(y%10 + 0x30);
					send_data_uart1(2, Admin, y,"");
					coikeu(1);
				}
				else { // khong co van tay
					LCD_setCursor(2,0);
					LCD_sendString("     VAN TAY SAI   ");
					LCD_setCursor(3,0);
					LCD_sendString("   XIN HAY THU LAI ");
					coikeu(2);
					HAL_Delay(800);
				}
				LCD_Clear ();
				ok = false;
			}
		}
		else if (IDE == 999)
		{
			ok = false;
		}
		else
		{
			LCD_Clear();
			LCD_setCursor(3 , 0);
			LCD_sendString("      SAI ADMIN    ");
			coikeu(2);
		}
	}
}

void xoavantayall()
{
	if (phai_them_vantay_ad == false)
	{ //
		LCD_Clear();
		LCD_setCursor(0, 0);
		LCD_sendString("   XAC NHAN ADMIN  ");
		if(verifyPassword() == 1 ) // xac nhan admin
		{
			IDE = fingerIDSearch();
			if (IDE != 0) // bang 0: ADMIN
			{
				if(verifyPassword() == 1 )
				{
					emptyDatabase();
					LCD_Clear();
					LCD_setCursor(2,1);
					LCD_sendString("   DA XOA ALL   ");
					coikeu(1);
					LCD_Clear ();
					ok = false;
					phai_them_vantay_ad = true;
					IDE=0;
					Flash_Erase(ADDRESS_DATA_STORAGE);
					Flash_Write_Int(ADDRESS_DATA_STORAGE,0);
					// sau khi xoa toan bo them van tay admin luon
					// GUI TIN HIEU XOA ALL CHO
				}
			}
			else
			{
				LCD_Clear();
				LCD_setCursor(3 , 0);
				LCD_sendString("      SAI ADMIN    ");
				coikeu(2);
				ok = false;
			}
		}
	}
	else
	{
			LCD_setCursor(3 , 0);
			LCD_sendString("  CHUA CO VAN TAY  ");
			coikeu(2);
			ok = false;
	}
}

void send_data_uart1(uint8_t Mode, uint8_t Admin, uint8_t Id, char * Name)
{
	char JSON[80] = "";
	char Str_Mode[2] = "";
	char Str_Admin[2] = "";
	char Str_Id[2] = "";
	//char Str_Name[30] = "";

	sprintf(Str_Mode, "%d", Mode);
	sprintf(Str_Admin, "%d", Admin);
	sprintf(Str_Id, "%d", Id);
	//
	strcat(JSON, "{\"Mode\":\"");
	strcat(JSON, Str_Mode); strcat(JSON, "\",");
	strcat(JSON, "\"Admin\":\"");
	strcat(JSON, Str_Admin); strcat(JSON, "\",");

	strcat(JSON, "\"Id\":\"");
	strcat(JSON, Str_Id); strcat(JSON, "\",");
	strcat(JSON, "\"Name\":\"");
	strcat(JSON, Name); strcat(JSON, "\"}\n");
	HAL_UART_Transmit(&huart2, JSON, sizeof(JSON), 10); // gui 500ms 1 lan // ,10 timeout
}

void HAL_TIM_PeriodElapsedCallback(TIM_HandleTypeDef *htim) // call back interupt timer
{
	if(htim->Instance == htim2.Instance){
		HAL_GPIO_TogglePin(GPIOC, GPIO_PIN_13);
		//send_data_uart(mode_vantay, Admin, IDE, Name);
	}
}

/* USER CODE END 4 */

void Error_Handler(void)
{
}

/************************ (C) COPYRIGHT STMicroelectronics *****END OF FILE****/
